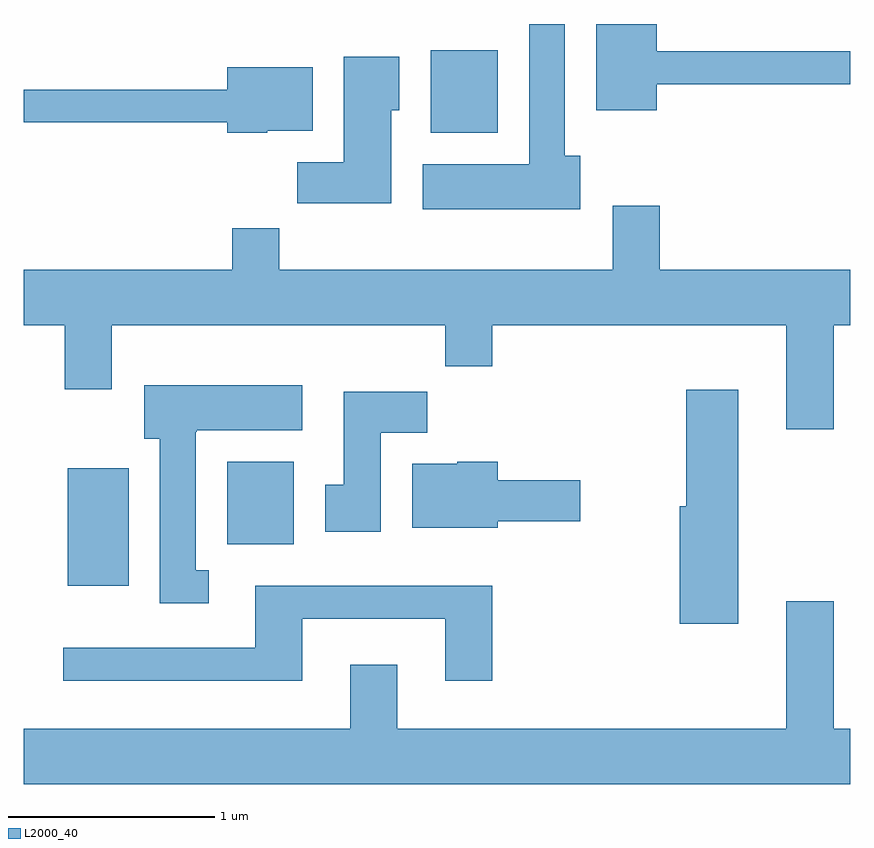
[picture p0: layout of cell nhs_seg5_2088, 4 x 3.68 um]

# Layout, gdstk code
import gdstk
lib = gdstk.Library(unit=1e-6, precision=1e-09)
def R(c, l, rs):  # rectangles x0, y0, x1, y1
    for r in rs: c.add(gdstk.rectangle(r[:2], r[2:], *l))
def P(c, l, *ps):  # polygons
    for p in ps: c.add(gdstk.Polygon(p, *l))
L2000_40 = (2000, 40)

nhs_seg5_2088 = lib.new_cell('nhs_seg5_2088')
R(nhs_seg5_2088, L2000_40, [(247.826,1413.356,248.119,1413.924), (248.596,1413.556,248.919,1413.954), (249.581,1415.546,249.904,1415.944)])
P(nhs_seg5_2088, L2000_40, [(250.674,1415.781),(251.611,1415.781),(251.611,1415.939),(250.674,1415.939),(250.674,1416.072),(250.381,1416.072),(250.381,1415.656),(250.674,1415.656)],
  [(250.304,1415.434),(250.229,1415.434),(250.229,1416.072),(249.993,1416.072),(249.993,1416.071),(250.056,1416.071),(250.056,1415.394),(249.541,1415.394),(249.541,1415.176),(250.304,1415.176)],
  [(249.389,1415.656),(249.429,1415.656),(249.429,1415.914),(249.161,1415.914),(249.161,1415.404),(248.936,1415.404),(248.936,1415.206),(249.389,1415.206)],
  [(248.79,1415.556),(249.009,1415.556),(249.009,1415.864),(248.596,1415.864),(248.596,1415.754),(247.611,1415.754),(247.611,1415.596),(248.596,1415.596),(248.596,1415.546),(248.79,1415.546)],
  [(251.529,1414.616),(251.611,1414.616),(251.611,1414.884),(250.689,1414.884),(250.689,1415.194),(250.461,1415.194),(250.461,1414.884),(248.849,1414.884),(248.849,1415.084),(248.621,1415.084),(248.621,1414.884),(247.611,1414.884),(247.611,1414.616),(247.811,1414.616),(247.811,1414.306),(248.039,1414.306),(248.039,1414.616),(249.651,1414.616),(249.651,1414.416),(249.879,1414.416),(249.879,1414.616),(251.301,1414.616),(251.301,1414.111),(251.529,1414.111)],
  [(248.508,1413.429),(248.444,1413.429),(248.444,1414.1),(248.45,1414.1),(248.45,1414.106),(248.959,1414.106),(248.959,1414.324),(248.196,1414.324),(248.196,1414.066),(248.271,1414.066),(248.271,1413.271),(248.508,1413.271)],
  [(251.069,1414.304),(250.816,1414.304),(250.816,1413.739),(250.786,1413.739),(250.786,1413.171),(251.069,1413.171)],
  [(249.339,1414.096),(249.564,1414.096),(249.564,1414.294),(249.161,1414.294),(249.161,1413.844),(249.071,1413.844),(249.071,1413.616),(249.339,1413.616)],
  [(249.904,1413.666),(250.304,1413.666),(250.304,1413.864),(249.904,1413.864),(249.904,1413.954),(249.71,1413.954),(249.71,1413.944),(249.491,1413.944),(249.491,1413.636),(249.904,1413.636)],
  [(248.959,1413.196),(249.651,1413.196),(249.651,1412.896),(249.879,1412.896),(249.879,1413.354),(248.731,1413.354),(248.731,1413.054),(247.803,1413.054),(247.803,1412.896),(248.959,1412.896)],
  [(251.611,1412.664),(251.529,1412.664),(251.529,1413.279),(251.301,1413.279),(251.301,1412.664),(249.419,1412.664),(249.419,1412.974),(249.191,1412.974),(249.191,1412.664),(247.611,1412.664),(247.611,1412.396),(251.611,1412.396)])

lib.write_gds('nhs_seg5_2088.gds')
